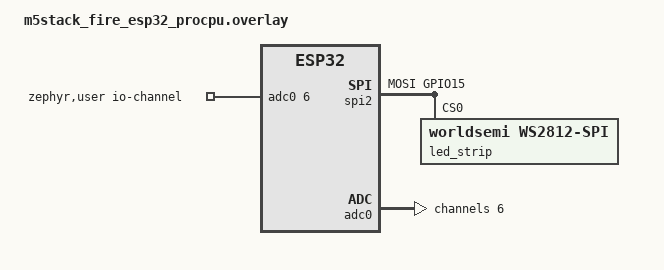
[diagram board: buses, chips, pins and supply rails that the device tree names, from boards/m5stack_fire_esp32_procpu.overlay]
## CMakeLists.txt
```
cmake_minimum_required(VERSION 3.20.0)
set(DTC_OVERLAY_FILE ${CMAKE_CURRENT_SOURCE_DIR}/boards/m5stack_fire_esp32_procpu.overlay)
find_package(Zephyr REQUIRED HINTS $ENV{ZEPHYR_BASE})
project(task4_microphone)
target_sources(app PRIVATE src/main.c)
```

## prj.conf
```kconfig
CONFIG_LOG=y
CONFIG_ADC=y
CONFIG_LED_STRIP=y
CONFIG_SHELL=y
```

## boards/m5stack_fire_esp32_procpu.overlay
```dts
/*
 * The M5Stack Fire has an onboard SK6812 (WS2812-compatible) RGB LED strip
 * of 10 pixels, wired to GPIO15 as a single data line. Zephyr's GPIO
 * bit-bang WS2812 driver only supports Nordic nRF SoCs, so on ESP32 we
 * drive it over SPI instead: SPI2 is otherwise unused on this board (SPI3
 * is already claimed by the SD card), and its MOSI signal is routed to
 * GPIO15 via the ESP32 GPIO matrix (SCLK/MISO are left unconnected -
 * WS2812 only needs the data line).
 */

#include <zephyr/dt-bindings/pinctrl/esp-pinctrl-common.h>
#include <zephyr/dt-bindings/pinctrl/esp32-pinctrl.h>
#include <zephyr/dt-bindings/pinctrl/esp32-gpio-sigmap.h>
#include <zephyr/dt-bindings/led/led.h>
#include <zephyr/dt-bindings/led/worldsemi_ws2812c.h>

/ {
	aliases {
		led-strip = &led_strip;
	};
};

&pinctrl {
	spim2_ws2812_led: spim2_ws2812_led {
		group1 {
			pinmux = <SPIM2_MOSI_GPIO15>;
		};
	};
};

&spi2 {
	status = "okay";
	#address-cells = <1>;
	#size-cells = <0>;
	pinctrl-0 = <&spim2_ws2812_led>;
	pinctrl-names = "default";
	line-idle-low;

	led_strip: ws2812@0 {
		compatible = "worldsemi,ws2812-spi";
		reg = <0>;
		spi-max-frequency = <WS2812C_SPI_FREQ>;

		chain-length = <10>;
		color-mapping = <LED_COLOR_ID_GREEN>,
				 <LED_COLOR_ID_RED>,
				 <LED_COLOR_ID_BLUE>;
		spi-one-frame = <WS2812C_ONE_FRAME>;
		spi-zero-frame = <WS2812C_ZERO_FRAME>;
	};
};

#include <zephyr/dt-bindings/adc/adc.h>

/* M5Stack Fire microphone: GPIO34 -> ESP32 ADC1 channel 6. */
&adc0 {
    status = "okay";
    #address-cells = <1>;
    #size-cells = <0>;
    channel@6 {
        reg = <6>;
        status = "okay";
        zephyr,gain = "ADC_GAIN_1_4";
        zephyr,reference = "ADC_REF_INTERNAL";
        zephyr,acquisition-time = <ADC_ACQ_TIME_DEFAULT>;
        zephyr,resolution = <12>;
    };
};
&speaker { status = "disabled"; };
/ {
    zephyr,user {
        io-channels = <&adc0 6>;
    };
};
```

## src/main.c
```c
#include <zephyr/kernel.h>
#include <zephyr/device.h>
#include <zephyr/drivers/adc.h>
#include <zephyr/drivers/led_strip.h>
#include <zephyr/logging/log.h>
#include <zephyr/sys/util.h>

LOG_MODULE_REGISTER(task4, LOG_LEVEL_INF);
#define STRIP_NODE DT_ALIAS(led_strip)
#define PIXELS DT_PROP(STRIP_NODE, chain_length)
#define SAMPLES 80
#define NOISE_FLOOR 40   /* tune in lab, using logged peak-to-peak values */
#define FULL_SCALE 900   /* tune in lab, using logged peak-to-peak values */

static const struct adc_dt_spec mic = ADC_DT_SPEC_GET(DT_PATH(zephyr_user));
static const struct device *const strip = DEVICE_DT_GET(STRIP_NODE);
static struct led_rgb pixels[PIXELS];

int main(void)
{
    if (!adc_is_ready_dt(&mic) || !device_is_ready(strip)) {
        LOG_ERR("ADC or LED strip not ready");
        return 0;
    }
    int rc = adc_channel_setup_dt(&mic);
    if (rc) { LOG_ERR("ADC setup failed: %d", rc); return 0; }

    int16_t sample;
    struct adc_sequence seq = { .buffer = &sample, .buffer_size = sizeof(sample) };
    while (1) {
        int min_value = INT16_MAX, max_value = INT16_MIN;
        for (int i = 0; i < SAMPLES; ++i) {
            rc = adc_sequence_init_dt(&mic, &seq);
            if (rc == 0) { rc = adc_read_dt(&mic, &seq); }
            if (rc) { LOG_ERR("ADC read failed: %d", rc); break; }
            min_value = MIN(min_value, (int)sample);
            max_value = MAX(max_value, (int)sample);
            k_sleep(K_MSEC(1));
        }
        if (rc) { k_sleep(K_MSEC(250)); continue; }

        /* Microphone signal is AC around a DC bias: measure peak-to-peak. */
        int peak_to_peak = max_value - min_value;
        int level = CLAMP(peak_to_peak - NOISE_FLOOR, 0, FULL_SCALE - NOISE_FLOOR);
        int lit = (level * PIXELS + (FULL_SCALE - NOISE_FLOOR - 1)) /
                  (FULL_SCALE - NOISE_FLOOR);
        for (int i = 0; i < PIXELS; ++i) {
            pixels[i].r = (i < lit) ? 40 : 0;
            pixels[i].g = 0;
            pixels[i].b = 0;
        }
        rc = led_strip_update_rgb(strip, pixels, PIXELS);
        if (rc) { LOG_ERR("LED update failed: %d", rc); }
        LOG_INF("Microphone peak-to-peak: %d, LEDs: %d/%d", peak_to_peak, lit, PIXELS);
        k_sleep(K_MSEC(60));
    }
    return 0;
}
```
